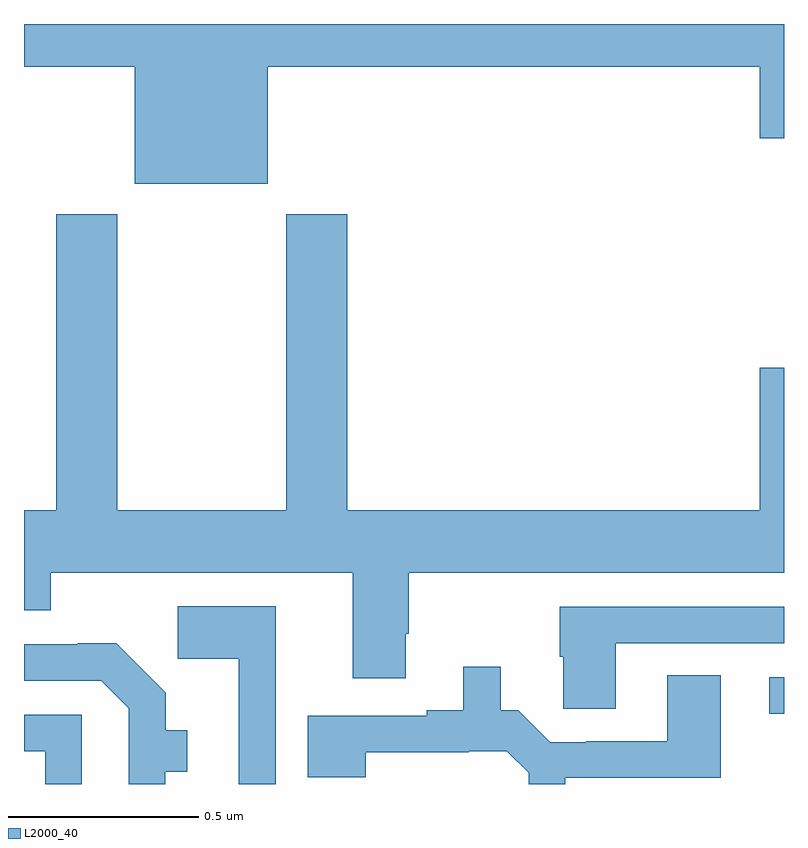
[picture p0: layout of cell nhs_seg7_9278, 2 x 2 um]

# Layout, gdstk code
import gdstk
lib = gdstk.Library(unit=1e-6, precision=1e-09)
def R(c, l, rs):  # rectangles x0, y0, x1, y1
    for r in rs: c.add(gdstk.rectangle(r[:2], r[2:], *l))
def P(c, l, *ps):  # polygons
    for p in ps: c.add(gdstk.Polygon(p, *l))
L2000_40 = (2000, 40)

nhs_seg7_9278 = lib.new_cell('nhs_seg7_9278')
R(nhs_seg7_9278, L2000_40, [(236.961,1060.185,237,1060.281)])
P(nhs_seg7_9278, L2000_40, [(235,1061.888),(235.292,1061.888),(235.292,1061.579),(235.642,1061.579),(235.642,1061.888),(236.936,1061.888),(236.936,1061.7),(237,1061.7),(237,1062),(235,1062)],
  [(236.005,1060.396),(236.013,1060.396),(236.013,1060.556),(237,1060.556),(237,1061.095),(236.936,1061.095),(236.936,1060.72),(235.85,1060.72),(235.85,1061.5),(235.69,1061.5),(235.69,1060.72),(235.245,1060.72),(235.245,1061.5),(235.085,1061.5),(235.085,1060.72),(235,1060.72),(235,1060.457),(235.071,1060.457),(235.071,1060.556),(235.865,1060.556),(235.865,1060.278),(236.005,1060.278)],
  [(235.662,1060.468),(235.404,1060.468),(235.404,1060.329),(235.565,1060.329),(235.565,1060),(235.662,1060)],
  [(236.557,1060.371),(237,1060.371),(237,1060.467),(236.41,1060.467),(236.41,1060.335),(236.419,1060.335),(236.419,1060.198),(236.557,1060.198)],
  [(235.372,1060.032),(235.429,1060.032),(235.429,1060.142),(235.373,1060.142),(235.373,1060.24),(235.243,1060.37),(235.142,1060.37),(235.142,1060.368),(235,1060.368),(235,1060.272),(235.203,1060.272),(235.275,1060.2),(235.275,1060),(235.372,1060)],
  [(236.424,1060.017),(236.833,1060.017),(236.833,1060.286),(236.693,1060.286),(236.693,1060.113),(236.479,1060.113),(236.479,1060.11),(236.385,1060.11),(236.301,1060.194),(236.254,1060.194),(236.254,1060.309),(236.156,1060.309),(236.156,1060.194),(236.06,1060.194),(236.06,1060.179),(235.747,1060.179),(235.747,1060.018),(235.899,1060.018),(235.899,1060.083),(236.171,1060.083),(236.171,1060.086),(236.271,1060.086),(236.328,1060.029),(236.328,1060),(236.424,1060)],
  [(235.152,1060.182),(235,1060.182),(235,1060.086),(235.056,1060.086),(235.056,1060),(235.152,1060)])

lib.write_gds('nhs_seg7_9278.gds')
